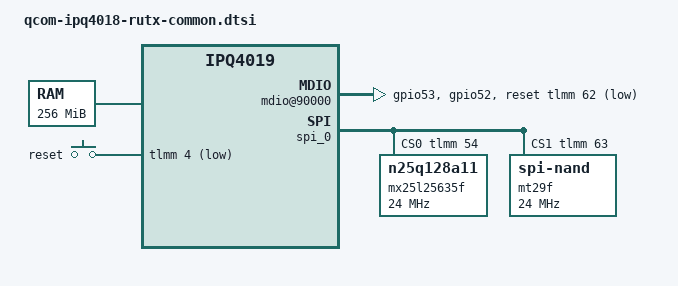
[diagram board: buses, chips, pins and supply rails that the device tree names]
#include "qcom-ipq4019-ap.dk01.1.dtsi"
#include <dt-bindings/gpio/gpio.h>
#include "platform_name.dtsi"

#define BLOCK_4PIN "1"
#define BLOCK_10PIN "2"
#define BLOCK_16PIN "3"

/ {
	compatible = "teltonika,rutx", "qcom,ap-dk01.1-c2", "qcom,ipq4019";

	memory {
		device_type = "memory";
		reg = <0x80000000 0x10000000>;
	};

	chosen {
		bootargs = "console=ttyMSM0,115200";
	};

	soc {
		mdio@90000 {
			status = "ok";
			pinctrl-0 = <&mdio_pins>;
			pinctrl-names = "default";
			reset-gpios = <&tlmm 62 GPIO_ACTIVE_LOW>;
		};

		ess-switch@c000000 {
				resets = <&gcc ESS_RESET>, <&gcc ESS_MAC1_ARES>,
						 <&gcc ESS_MAC2_ARES>, <&gcc ESS_MAC3_ARES>,
						 <&gcc ESS_MAC4_ARES>, <&gcc ESS_MAC5_ARES>;
				reset-names = "ess_rst", "ess_mac1_rst",
							  "ess_mac2_rst", "ess_mac3_rst",
							  "ess_mac4_rst", "ess_mac5_rst";
		};

		pinctrl@1000000 {
			mdio_pins: mdio_pinmux {
				mux_1 {
					pins = "gpio53";
					function = "mdio";
					bias-pull-up;
				};
				mux_2 {
					pins = "gpio52";
					function = "mdc";
					bias-pull-up;
				};
			};
		};

		spi_0: spi@78b5000 {
			cs-gpios = <&tlmm 54 0>, <&tlmm 63 0>;
			num-cs = <2>;

			mx25l25635f@0 {
				compatible = "n25q128a11", "mx25l25635f", "jedec,spi-nor";
				#address-cells = <1>;
				#size-cells = <1>;
				reg = <0>;
				spi-max-frequency = <24000000>;
			};

			mt29f@1 {
				#address-cells = <1>;
				#size-cells = <1>;
				compatible = "spi-nand","spinand,mt29f";
				reg = <1>;
				spi-max-frequency = <24000000>;
			};
		};

		gpio_keys {
			compatible = "gpio-keys";

			reset {
				label = "reset";
				gpios = <&tlmm 4 1>;
				linux,code = <0x198>;
			};
		};

		usb3: usb3@8af8800 {
			dwc3@8a00000 {
				snps,dis_u2_susphy_quirk;
				snps,dis_u3_susphy_quirk;
			};
		};

		usb2: usb2@60f8800 {
			dwc3@6000000 {
				snps,dis_u2_susphy_quirk;
			};
		};

		tpm: tpm@2e {
			compatible = "tcg,tpm_tis_i2c";
			reg = <0x2e>;
			status = "okay";
		};
	};

	boot: boot_partition {
		label = "0:APPSBL";
	};

	config: config_partition {
		label = "0:CONFIG";
	};

	config_rw: config_rw_partition {
		label = "0:CONFIG_RW";
	};

	mnfinfo: mnfinfo {
		compatible = "sysfs-mnfinfo";
		status = "okay";

		mac {
			reg = <&config 0x0 0x6>;
			min-res-len = <0xc>;
			type = "mac";
			default = "001E42013370";
			log;
		};

		name {
			reg = <&config 0x10 0xc>;
			type = "ascii";
			default = "UNKNOWNXXXXX";
			log;
		};

		wps {
			reg = <&config 0x20 0x8>;
			type = "digit";
		};

		serial {
			reg = <&config 0x30 0xa>;
			type = "alnum";
			default = "0000000000";
			log;
		};

		batch {
			reg = <&config 0x40 0x4>;
			type = "digit";
			default = "0000";
			log;
		};

		hwver {
			reg = <&config 0x50 0x4>;
			type = "digit";
			default = "0000";
			log;
		};

		branch {
			reg = <&config 0x58 0x4>;
			type = "ascii";
			log;
		};

		wpass {
			reg = <&config 0x90 0x10>;
			type = "ascii";
		};

		pass {
			reg = <&config 0xa0 0x6a>;
			type = "ascii";
		};

		sim_cfg {
			reg = <&config 0x120 0x20>;
			min-res-len = <0x7>;
			default = "";
			type = "simcfg";
			log;
		};

		blver {
			reg = <&boot 0xa0000 0xa>;
			trailling-data;
			strip-whitespaces;
			type = "ascii";
			log;
		};

		simpin1 {
			reg = <&config_rw 0x0 0x8>;
			type = "digit";
			default = "";
		};

		simpin2 {
			reg = <&config_rw 0x10 0x8>;
			type = "digit";
			default = "";
		};

		sim_count {
			default =  "2";
			log;
		};
	};

	ioman: ioman {
		layout@0{
			io@0 { // 4pin #3
				label = "din1";
				block_type = BLOCK_4PIN;
				block_pin = "3";
				gpio_in = "GPIO_IN_1";
				io_param = "g0";
			};
			io@1 { // 4pin #4
				label = "dout1";
				block_type = BLOCK_4PIN;
				block_pin = "4";
				gpio_out = "GPIO_OUT_1";
				io_param = "g1";
			};
		};
	};
};
